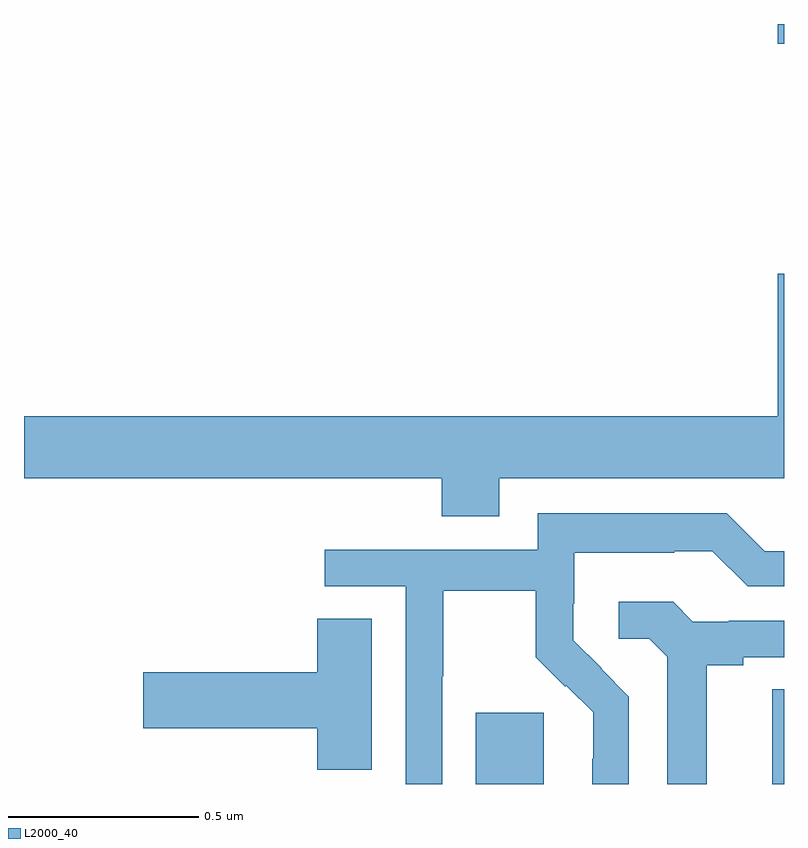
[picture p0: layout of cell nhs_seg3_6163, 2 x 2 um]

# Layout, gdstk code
import gdstk
lib = gdstk.Library(unit=1e-6, precision=1e-09)
def R(c, l, rs):  # rectangles x0, y0, x1, y1
    for r in rs: c.add(gdstk.rectangle(r[:2], r[2:], *l))
def P(c, l, *ps):  # polygons
    for p in ps: c.add(gdstk.Polygon(p, *l))
L2000_40 = (2000, 40)

nhs_seg3_6163 = lib.new_cell('nhs_seg3_6163')
R(nhs_seg3_6163, L2000_40, [(188.189,745.4,188.368,745.587), (188.969,745.4,189,745.649), (188.984,747.348,189,747.4)])
P(nhs_seg3_6163, L2000_40, [(188.251,746.204),(189,746.204),(189,746.743),(188.984,746.743),(188.984,746.368),(187,746.368),(187,746.204),(188.099,746.204),(188.099,746.105),(188.251,746.105)],
  [(188.1,745.684),(188.103,745.684),(188.103,745.908),(188.347,745.908),(188.347,745.733),(188.424,745.656),(188.427,745.659),(188.498,745.589),(188.498,745.466),(188.496,745.466),(188.496,745.4),(188.592,745.4),(188.592,745.63),(188.519,745.703),(188.52,745.704),(188.446,745.778),(188.446,745.875),(188.448,745.875),(188.448,746.009),(188.711,746.009),(188.711,746.013),(188.811,746.013),(188.904,745.92),(189,745.92),(189,746.013),(188.949,746.013),(188.849,746.113),(188.352,746.113),(188.352,746.016),(187.791,746.016),(187.791,745.92),(188.004,745.92),(188.004,745.4),(188.1,745.4)],
  [(188.797,745.712),(188.893,745.712),(188.893,745.734),(189,745.734),(189,745.83),(188.854,745.83),(188.854,745.827),(188.76,745.827),(188.708,745.879),(188.565,745.879),(188.565,745.782),(188.646,745.782),(188.693,745.735),(188.693,745.4),(188.797,745.4)],
  [(187.915,745.835),(187.772,745.835),(187.772,745.694),(187.314,745.694),(187.314,745.547),(187.772,745.547),(187.772,745.438),(187.915,745.438)])

lib.write_gds('nhs_seg3_6163.gds')
